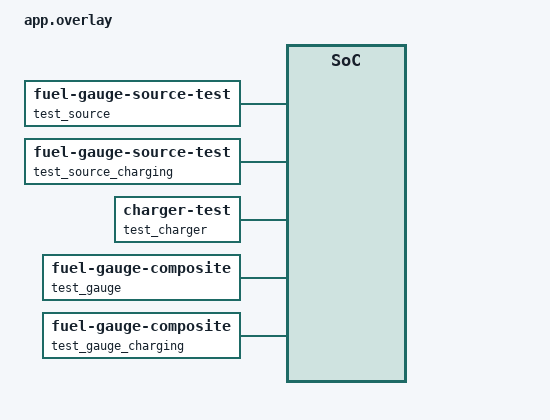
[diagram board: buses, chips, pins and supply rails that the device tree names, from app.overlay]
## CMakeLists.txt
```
# SPDX-License-Identifier: Apache-2.0

cmake_minimum_required(VERSION 3.20.0)
find_package(Zephyr REQUIRED HINTS $ENV{ZEPHYR_BASE})
project(fuel_gauge_composite)

target_sources(app PRIVATE src/main.c)
```

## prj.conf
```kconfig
CONFIG_ZTEST=y
CONFIG_SENSOR=y
CONFIG_CHARGER=y
CONFIG_FUEL_GAUGE=y
CONFIG_FUEL_GAUGE_COMPOSITE=y
CONFIG_FUEL_GAUGE_COMPOSITE_DATA_VALIDITY_MS=0
# Millisecond ticks so small charge integration steps are exercised
CONFIG_SYS_CLOCK_TICKS_PER_SEC=1000
```

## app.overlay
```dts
/ {
	test_source: test_source {
		compatible = "zephyr,fuel-gauge-source-test";
	};

	test_source_charging: test_source_charging {
		compatible = "zephyr,fuel-gauge-source-test";
	};

	test_charger: test_charger {
		compatible = "zephyr,charger-test";
	};

	test_gauge: test_gauge {
		compatible = "zephyr,fuel-gauge-composite";
		source-primary = <&test_source>;
		device-chemistry = "lithium-ion";
		ocv-capacity-table-0 = <3000000 3100000 3200000 3300000 3400000 3500000
					3600000 3700000 3800000 3900000 4000000>;
		fuel-gauge-channels;
	};

	test_gauge_charging: test_gauge_charging {
		compatible = "zephyr,fuel-gauge-composite";
		source-primary = <&test_source_charging>;
		device-chemistry = "lithium-ion";
		ocv-capacity-table-0 = <3000000 3100000 3200000 3300000 3400000 3500000
					3600000 3700000 3800000 3900000 4000000>;
		charge-full-design-microamp-hours = <1000>;
		fuel-gauge-channels;
		charger-status = <&test_charger>;
		charging-soc-estimator;
		charging-current-threshold-microamp = <10000>;
		ocv-relaxation-time-ms = <100>;
	};
};
```

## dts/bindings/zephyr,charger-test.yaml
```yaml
description: Test charger for the composite fuel gauge

compatible: "zephyr,charger-test"

include: base.yaml
```

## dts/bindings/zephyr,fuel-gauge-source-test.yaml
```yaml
description: Test sensor source for the composite fuel gauge

compatible: "zephyr,fuel-gauge-source-test"

include: base.yaml
```

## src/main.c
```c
/*
 * Copyright (c) 2026 Embeint Inc
 *
 * SPDX-License-Identifier: Apache-2.0
 */

#include <zephyr/device.h>
#include <zephyr/drivers/charger.h>
#include <zephyr/drivers/fuel_gauge.h>
#include <zephyr/drivers/sensor.h>
#include <zephyr/kernel.h>
#include <zephyr/ztest.h>

struct test_source_data {
	int32_t voltage_uv;
	int32_t current_ua;
};

static struct test_source_data source_data;
static struct test_source_data charging_source_data;
static enum charger_status test_charger_status = CHARGER_STATUS_NOT_CHARGING;

static int test_source_sample_fetch(const struct device *dev, enum sensor_channel chan)
{
	ARG_UNUSED(dev);
	ARG_UNUSED(chan);
	return 0;
}

static int test_source_channel_get(const struct device *dev, enum sensor_channel chan,
				   struct sensor_value *val)
{
	struct test_source_data *data = dev->data;

	switch (chan) {
	case SENSOR_CHAN_GAUGE_VOLTAGE:
		return sensor_value_from_micro(val, data->voltage_uv);
	case SENSOR_CHAN_GAUGE_AVG_CURRENT:
		return sensor_value_from_micro(val, data->current_ua);
	default:
		return -ENOTSUP;
	}
}

static DEVICE_API(sensor, test_source_api) = {
	.sample_fetch = test_source_sample_fetch,
	.channel_get = test_source_channel_get,
};

static int test_charger_get_prop(const struct device *dev, charger_prop_t prop,
				 union charger_propval *val)
{
	ARG_UNUSED(dev);

	if (prop != CHARGER_PROP_STATUS) {
		return -ENOTSUP;
	}
	val->status = test_charger_status;
	return 0;
}

static DEVICE_API(charger, test_charger_api) = {
	.get_property = test_charger_get_prop,
};

DEVICE_DT_DEFINE(DT_NODELABEL(test_source), NULL, NULL, &source_data, NULL,
		 POST_KERNEL, 89, &test_source_api);
DEVICE_DT_DEFINE(DT_NODELABEL(test_source_charging), NULL, NULL, &charging_source_data, NULL,
		 POST_KERNEL, 89, &test_source_api);
DEVICE_DT_DEFINE(DT_NODELABEL(test_charger), NULL, NULL, NULL, NULL, POST_KERNEL, 89,
		 &test_charger_api);

static uint8_t get_soc(const struct device *gauge)
{
	union fuel_gauge_prop_val value;

	zassert_ok(fuel_gauge_get_prop(gauge, FUEL_GAUGE_RELATIVE_STATE_OF_CHARGE_PCT, &value));
	return value.relative_state_of_charge_pct;
}

/* Clear charging estimator history left by a previous test, settling at the given OCV */
static void reset_charging_gauge(const struct device *gauge, int32_t voltage_uv)
{
	charging_source_data.voltage_uv = voltage_uv;
	charging_source_data.current_ua = 0;
	test_charger_status = CHARGER_STATUS_FULL;
	(void)get_soc(gauge);
	/* Let the post-FULL relaxation complete */
	k_sleep(K_MSEC(150));
	test_charger_status = CHARGER_STATUS_NOT_CHARGING;
	(void)get_soc(gauge);
}

ZTEST(fuel_gauge_composite, test_ocv_tracks_loaded_voltage)
{
	const struct device *gauge = DEVICE_DT_GET(DT_NODELABEL(test_gauge));

	source_data.voltage_uv = 3920000;
	source_data.current_ua = 360000;
	zassert_equal(92, get_soc(gauge));
}

ZTEST(fuel_gauge_composite, test_charging_lifecycle)
{
	const struct device *gauge = DEVICE_DT_GET(DT_NODELABEL(test_gauge_charging));
	uint8_t soc;

	/* Initialise from OCV while not charging. */
	reset_charging_gauge(gauge, 3600000);
	zassert_equal(60, get_soc(gauge));

	/* Low charging current continues to use OCV. */
	charging_source_data.voltage_uv = 3920000;
	charging_source_data.current_ua = 10000;
	test_charger_status = CHARGER_STATUS_CHARGING;
	zassert_equal(92, get_soc(gauge));

	/* Refresh the OCV baseline, then integrate significant charging current. */
	charging_source_data.voltage_uv = 3600000;
	charging_source_data.current_ua = 0;
	test_charger_status = CHARGER_STATUS_NOT_CHARGING;
	zassert_equal(60, get_soc(gauge));

	charging_source_data.voltage_uv = 3920000;
	charging_source_data.current_ua = 360000;
	test_charger_status = CHARGER_STATUS_CHARGING;
	zassert_equal(60, get_soc(gauge));
	k_sleep(K_MSEC(120));
	soc = get_soc(gauge);
	zassert_true((soc >= 61) && (soc <= 62), "unexpected charged SoC: %u", soc);

	/* Discharge current is not integrated, but advances the OCV transition. */
	charging_source_data.voltage_uv = 3200000;
	charging_source_data.current_ua = -360000;
	test_charger_status = CHARGER_STATUS_NOT_CHARGING;
	soc = get_soc(gauge);
	zassert_true((soc >= 61) && (soc <= 62), "unexpected held SoC: %u", soc);
	k_sleep(K_MSEC(50));
	{
		uint8_t relaxing_soc = get_soc(gauge);

		zassert_true((relaxing_soc > 20) && (relaxing_soc < soc),
			     "unexpected relaxing SoC: %u", relaxing_soc);
	}
	k_sleep(K_MSEC(70));
	zassert_equal(20, get_soc(gauge));

	/* After relaxation, readings return to corrected OCV directly. */
	charging_source_data.voltage_uv = 3700000;
	charging_source_data.current_ua = 0;
	zassert_equal(70, get_soc(gauge));

	/* Charger termination is an authoritative full-charge calibration. */
	charging_source_data.voltage_uv = 3900000;
	test_charger_status = CHARGER_STATUS_FULL;
	zassert_equal(100, get_soc(gauge));
}

ZTEST(fuel_gauge_composite, test_charging_no_idle_integration)
{
	const struct device *gauge = DEVICE_DT_GET(DT_NODELABEL(test_gauge_charging));
	uint8_t soc;

	reset_charging_gauge(gauge, 3600000);

	/* Idle time before charging starts must not be integrated as charge. */
	k_sleep(K_MSEC(500));
	charging_source_data.voltage_uv = 3920000;
	charging_source_data.current_ua = 360000;
	test_charger_status = CHARGER_STATUS_CHARGING;
	zassert_equal(60, get_soc(gauge));

	/* Same for the gap between leaving relaxation and charging resuming. */
	k_sleep(K_MSEC(120));
	soc = get_soc(gauge);
	zassert_true((soc >= 61) && (soc <= 62), "unexpected charged SoC: %u", soc);
	charging_source_data.voltage_uv = 3600000;
	charging_source_data.current_ua = 0;
	test_charger_status = CHARGER_STATUS_NOT_CHARGING;
	(void)get_soc(gauge);
	k_sleep(K_MSEC(500));
	zassert_equal(60, get_soc(gauge));
	charging_source_data.voltage_uv = 3920000;
	charging_source_data.current_ua = 360000;
	test_charger_status = CHARGER_STATUS_CHARGING;
	zassert_equal(60, get_soc(gauge));
}

ZTEST(fuel_gauge_composite, test_charging_long_gap_restarts_integration)
{
	const struct device *gauge = DEVICE_DT_GET(DT_NODELABEL(test_gauge_charging));
	uint8_t soc;

	reset_charging_gauge(gauge, 3600000);

	charging_source_data.voltage_uv = 3920000;
	charging_source_data.current_ua = 360000;
	test_charger_status = CHARGER_STATUS_CHARGING;
	zassert_equal(60, get_soc(gauge));
	k_sleep(K_MSEC(120));
	soc = get_soc(gauge);
	zassert_true((soc >= 61) && (soc <= 62), "unexpected charged SoC: %u", soc);

	/* A gap longer than 5 minutes is not integrated, corrected OCV is used instead. */
	k_sleep(K_SECONDS(301));
	zassert_equal(92, get_soc(gauge));

	/* Integration resumes from the OCV estimate at the reading after the gap. */
	k_sleep(K_MSEC(120));
	zassert_equal(93, get_soc(gauge));
}

ZTEST(fuel_gauge_composite, test_charging_small_steps_accumulate)
{
	const struct device *gauge = DEVICE_DT_GET(DT_NODELABEL(test_gauge_charging));
	int64_t start;

	reset_charging_gauge(gauge, 3600000);

	/*
	 * 12 mA on 1000 uAh is 1/3 millipercent per ms, so each short poll step (k_sleep
	 * of 1 ms lasts 1-2 ms) truncates to zero unless the remainder is carried.
	 * Integrating for 3600 ms gives 1.2%.
	 */
	charging_source_data.voltage_uv = 3920000;
	charging_source_data.current_ua = 12000;
	test_charger_status = CHARGER_STATUS_CHARGING;
	zassert_equal(60, get_soc(gauge));
	start = k_uptime_get();
	while ((k_uptime_get() - start) < 3600) {
		k_sleep(K_MSEC(1));
		(void)get_soc(gauge);
	}
	zassert_equal(61, get_soc(gauge));
}

ZTEST(fuel_gauge_composite, test_charging_relaxation_from_charge_end)
{
	const struct device *gauge = DEVICE_DT_GET(DT_NODELABEL(test_gauge_charging));
	uint8_t soc;

	reset_charging_gauge(gauge, 3600000);

	charging_source_data.voltage_uv = 3920000;
	charging_source_data.current_ua = 360000;
	test_charger_status = CHARGER_STATUS_CHARGING;
	zassert_equal(60, get_soc(gauge));
	k_sleep(K_MSEC(120));
	soc = get_soc(gauge);
	zassert_true((soc >= 61) && (soc <= 62), "unexpected charged SoC: %u", soc);

	/* First reading after the relaxation time has passed since charging ended. */
	k_sleep(K_MSEC(150));
	charging_source_data.voltage_uv = 3200000;
	charging_source_data.current_ua = 0;
	test_charger_status = CHARGER_STATUS_NOT_CHARGING;
	zassert_equal(20, get_soc(gauge));
}

ZTEST(fuel_gauge_composite, test_charging_relaxation_after_full)
{
	const struct device *gauge = DEVICE_DT_GET(DT_NODELABEL(test_gauge_charging));
	uint8_t soc;

	reset_charging_gauge(gauge, 3600000);

	charging_source_data.voltage_uv = 3900000;
	test_charger_status = CHARGER_STATUS_FULL;
	zassert_equal(100, get_soc(gauge));

	/* Unplugging does not drop straight to the loaded OCV estimate. */
	charging_source_data.voltage_uv = 3700000;
	charging_source_data.current_ua = -100000;
	test_charger_status = CHARGER_STATUS_NOT_CHARGING;
	soc = get_soc(gauge);
	zassert_true(soc >= 99, "unexpected unplugged SoC: %u", soc);
	k_sleep(K_MSEC(50));
	soc = get_soc(gauge);
	zassert_true((soc > 70) && (soc < 99), "unexpected relaxing SoC: %u", soc);
	k_sleep(K_MSEC(70));
	zassert_equal(70, get_soc(gauge));
}

ZTEST_SUITE(fuel_gauge_composite, NULL, NULL, NULL, NULL, NULL);
```
